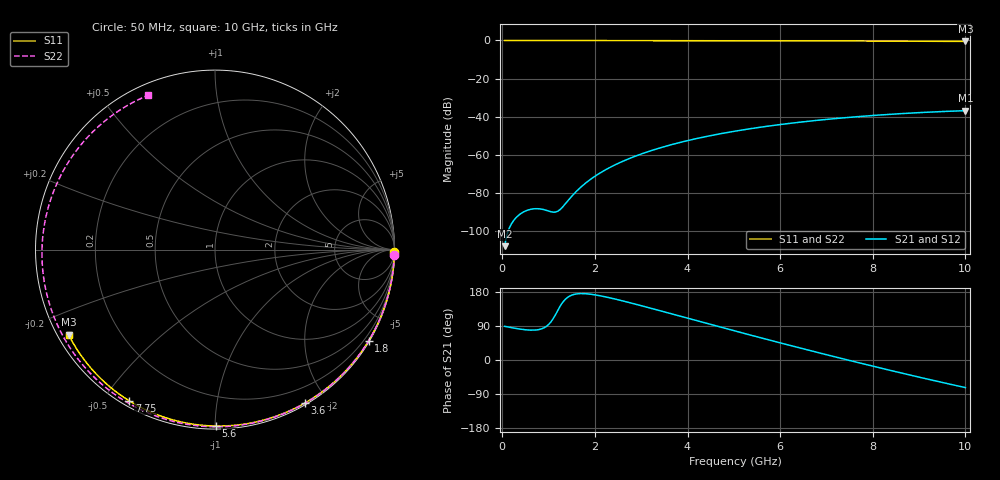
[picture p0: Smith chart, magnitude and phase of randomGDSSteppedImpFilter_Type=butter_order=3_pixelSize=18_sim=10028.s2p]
! freq	dB(S11)	phase(S11)	dB(S12)	phase(S12)
!  dB(S21)	phase(S21)	dB(S22)	phase(S22)
!S-par simulation data
#  GHz  S  DB  R 50
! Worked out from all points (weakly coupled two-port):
!   200 points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, 50 MHz to 10 GHz, reference 50 ohm
!   highest |S21| = -36.81 dB at 10 GHz (marker M1); lowest = -107.8 dB at 50 MHz (marker M2)
!   lowest |S11| = -0.5 dB at 10 GHz (marker M3), VSWR 34.29, Z = 1.56 - j13.5 ohm
!   |S11| at or under -10 dB: nowhere
!   |S22| runs from -0.6 to 0.0 dB; largest |S21 - S12| = 0
!   S11 on the Smith chart (normalised r, x): 50 MHz: open; 1.8 GHz: 0.03, -3.65; 3.6 GHz: 0.02, -1.74; 5.6 GHz: 0.02, -1.01; 7.75 GHz: 0.02, -0.58; 10 GHz: 0.03, -0.27
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0.05  -0.00 -0.9  -107.85 88.9  -107.85 88.9  -0.00 -1.6
0.4  -0.01 -6.9  -90.76 81.3  -90.76 81.3  -0.02 -12.6
0.75  -0.02 -12.9  -88.19 79.5  -88.19 79.5  -0.03 -23.4
1.15  -0.02 -19.7  -89.96 119.8  -89.96 119.8  -0.04 -35.6
1.55  -0.03 -26.4  -80.36 173.1  -80.36 173.1  -0.06 -47.6
1.75  -0.04 -29.8  -75.75 175.2  -75.75 175.2  -0.07 -53.4
1.8  -0.04 -30.6  -74.75 174.9  -74.75 174.9  -0.07 -54.9
2.1  -0.05 -35.6  -69.65 169.8  -69.65 169.8  -0.08 -63.4
2.45  -0.05 -41.3  -65.04 160.5  -65.04 160.5  -0.09 -73.1
2.9  -0.06 -48.6  -60.41 146.6  -60.41 146.6  -0.10 -85.2
3.4  -0.08 -56.6  -56.36 130.3  -56.36 130.3  -0.12 -98.0
3.6  -0.08 -59.7  -54.98 123.7  -54.98 123.7  -0.13 -103.0
4.3  -0.10 -70.5  -50.88 100.4  -50.88 100.4  -0.16 -119.8
5.05  -0.13 -81.7  -47.45 75.8  -47.45 75.8  -0.19 -136.8
5.6  -0.15 -89.7  -45.39 58.0  -45.39 58.0  -0.22 -148.9
6.15  -0.17 -97.5  -43.63 40.5  -43.63 40.5  -0.26 -160.8
6.7  -0.20 -105.2  -42.12 23.2  -42.12 23.2  -0.29 -172.5
7.25  -0.24 -112.8  -40.82 6.3  -40.82 6.3  -0.33 175.8
7.75  -0.28 -119.6  -39.80 -8.8  -39.80 -8.8  -0.37 165.0
8.35  -0.33 -127.6  -38.76 -26.5  -38.76 -26.5  -0.42 151.9
9.15  -0.41 -138.4  -37.65 -49.5  -37.65 -49.5  -0.49 133.7
10  -0.51 -149.9  -36.81 -72.8  -36.81 -72.8  -0.57 113.5
